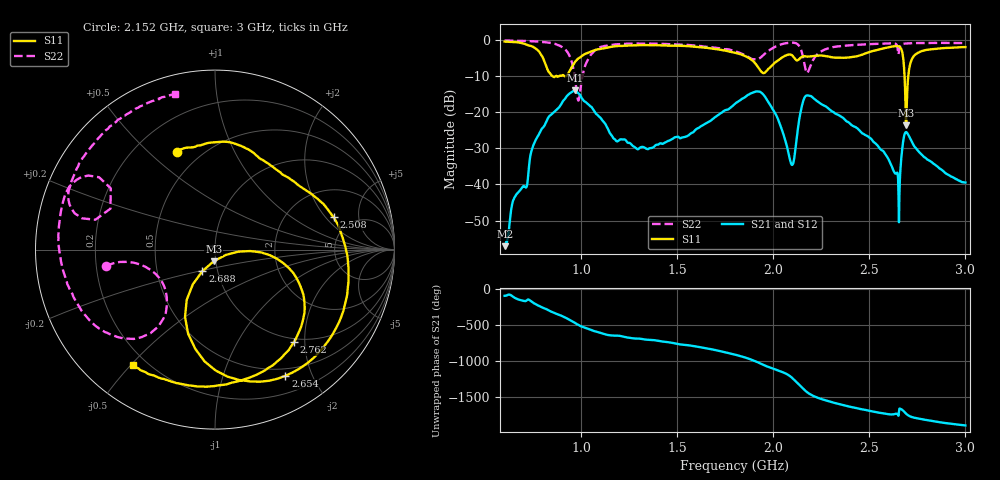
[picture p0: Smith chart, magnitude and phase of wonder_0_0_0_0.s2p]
#  HZ  S  RI  R  50.00
! Rohde & Schwarz ZVB8 2Ports - Version 2.81 - 1145.1010k08 SN: 100113
! Date: 2016-05-12 03:15:39
! Measurements: S11 S21 S12 S22
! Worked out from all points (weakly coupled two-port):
!   1000 points, 600 MHz to 3 GHz, reference 50 ohm
!   highest |S21| = -14.03 dB at 965.2 MHz (marker M1); lowest = -57.1 dB at 602.4 MHz (marker M2)
!   lowest |S11| = -23.7 dB at 2.69 GHz (marker M3), VSWR 1.14, Z = 48.8 - j6.38 ohm
!   |S11| at or under -10 dB: 847.4 MHz to 885.9 MHz (38.48 MHz wide, 4.44 % of centre); 909 MHz to 922.1 MHz (13.07 MHz wide, 1.43 % of centre); 2.683 GHz to 2.703 GHz (19.61 MHz wide, 0.728 % of centre) (the widest 3 of 4)
!   |S22| runs from -16.8 to -0.2 dB; largest |S21 - S12| = 0.0014
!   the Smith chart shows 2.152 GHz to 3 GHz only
!   S11 on the Smith chart (normalised r, x): 2.152 GHz: 0.37, +0.62; 2.508 GHz: 3.59, +2.45; 2.654 GHz: 0.41, -1.63; 2.688 GHz: 0.85, -0.21; 2.762 GHz: 0.93, -1.78; 3 GHz: 0.15, -0.51
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6e8  -0.8672 0.3666  -0.000141 -0.00146  -6.13e-05 -0.00131  -0.9585 0.1773
6.024024e8  -0.861 0.3784  -9.33e-05 -0.0014  -8.36e-05 -0.00146  -0.9561 0.1882
7.393393e8  -0.165 0.7996  -0.0286 -0.00244  -0.0285 -0.00207  -0.6306 0.7104
8.498498e8  0.0649 0.3063  0.0773 0.0568  0.0774 0.0568  -0.0629 0.8907
9.651652e8  -0.0744 0.4814  -0.0667 -0.1874  -0.0669 -0.1874  0.305 -0.0359
1.001201e9  0.0523 0.5891  -0.1488 -0.0489  -0.1485 -0.049  -0.2691 -0.0399
1.138138e9  0.6668 0.406  0.00968 0.0578  0.00989 0.0576  0.0823 0.8287
1.258258e9  0.8051 -0.2096  0.0286 0.022  0.0286 0.0221  0.6302 0.6148
1.4e9  0.3558 -0.7578  0.0354 -4.23e-05  0.0355 -1.73e-05  0.8763 0.0609
1.621021e9  -0.5639 -0.544  9.75e-05 -0.0633  5.22e-05 -0.0634  0.4877 -0.6517
1.801201e9  -0.648 0.1132  -0.1281 0.0274  -0.1282 0.0275  -0.0404 -0.6864
1.945345e9  -0.2844 0.1977  0.1557 0.0844  0.1556 0.0844  -0.0319 -0.6035
2.096697e9  -0.2847 0.5394  -0.0165 -0.00854  -0.0166 -0.00863  -0.6586 -0.6265
2.151952e9  -0.2095 0.5464  0.0594 0.1181  0.0591 0.1179  -0.6065 -0.0915
2.2e9  -0.069 0.5852  0.1327 -0.094  0.1327 -0.094  -0.2886 -0.3861
2.507508e9  0.6609 0.1808  -0.0102 0.0417  -0.0103 0.0416  -0.8689 0.0064
2.601201e9  0.7237 -0.3093  0.0107 0.019  0.0107 0.019  -0.8518 0.2428
2.654054e9  0.3925 -0.7032  -0.00048 0.00296  -0.000519 0.00296  -0.6662 0.1665
2.687688e9  -0.0699 -0.12  0.0112 0.051  0.0112 0.0509  -0.8027 0.3727
2.69009e9  -0.00754 -0.065  0.0172 0.0499  0.017 0.0499  -0.7999 0.3803
2.762162e9  0.4395 -0.5159  0.0274 -0.00175  0.0273 -0.00162  -0.7117 0.5461
3e9  -0.4592 -0.6422  -0.000926 -0.0106  -0.000906 -0.0104  -0.2225 0.868
